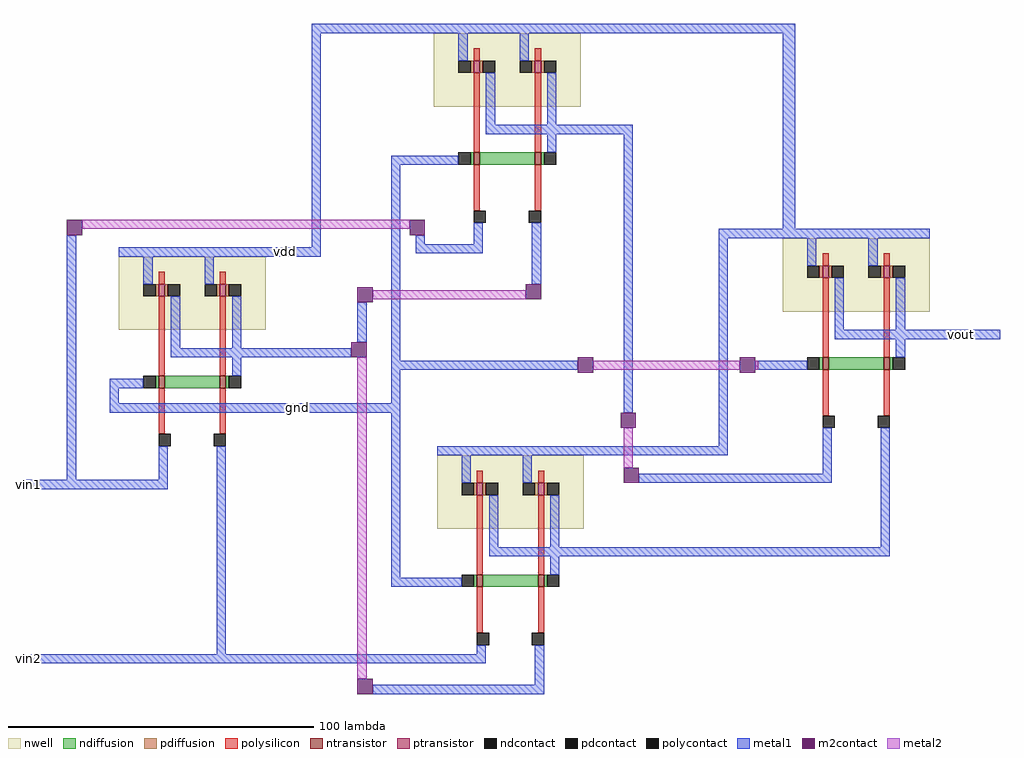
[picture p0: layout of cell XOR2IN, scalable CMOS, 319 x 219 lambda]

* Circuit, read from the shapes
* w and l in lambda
.subckt XOR2IN gnd vdd vin1 vin2 vout
M1 n1 vin1 gnd VSUBS nfet w=4 l=2
M2 NAND2IN_1/vin2 vin2 n1 VSUBS nfet w=4 l=2
M3 n2 vin1 gnd VSUBS nfet w=4 l=2
M4 n3 vin2 gnd VSUBS nfet w=4 l=2
M5 NAND2IN_3/vin1 NAND2IN_1/vin2 n2 VSUBS nfet w=4 l=2
M6 NAND2IN_3/vin2 NAND2IN_1/vin2 n3 VSUBS nfet w=4 l=2
M7 n4 NAND2IN_3/vin1 gnd VSUBS nfet w=4 l=2
M8 vout NAND2IN_3/vin2 n4 VSUBS nfet w=4 l=2
M9 NAND2IN_1/vin2 vin1 vdd n5 pfet w=4 l=2
M10 NAND2IN_1/vin2 vin2 vdd n5 pfet w=4 l=2
M11 NAND2IN_3/vin1 vin1 vdd n6 pfet w=4 l=2
M12 NAND2IN_3/vin2 vin2 vdd n7 pfet w=4 l=2
M13 NAND2IN_3/vin1 NAND2IN_1/vin2 vdd n6 pfet w=4 l=2
M14 NAND2IN_3/vin2 NAND2IN_1/vin2 vdd n7 pfet w=4 l=2
M15 vout NAND2IN_3/vin1 vdd n8 pfet w=4 l=2
M16 vout NAND2IN_3/vin2 vdd n8 pfet w=4 l=2
.ends

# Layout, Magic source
magic
tech scmos
<< metal1 >>
rect -12 98 32 101
rect 74 98 146 101
rect -92 -48 -89 32
rect -12 28 -9 98
rect 75 65 93 68
rect -34 25 -9 28
rect 14 55 33 58
rect 3 -3 6 10
rect -29 -8 1 -5
rect 14 -9 17 55
rect 22 29 25 32
rect 41 29 44 34
rect 22 26 44 29
rect 60 16 63 33
rect 14 -12 75 -9
rect -78 -18 -71 -15
rect -78 -23 -75 -18
rect 14 -23 17 -12
rect -78 -26 17 -23
rect 90 -26 93 65
rect 142 34 146 98
rect 121 31 146 34
rect -62 -48 -59 -40
rect -106 -51 -59 -48
rect -43 -105 -40 -40
rect 14 -80 17 -26
rect 121 -37 124 31
rect 190 -2 213 1
rect 133 -12 146 -9
rect 30 -40 32 -37
rect 76 -40 124 -37
rect 155 -46 158 -34
rect 95 -49 158 -46
rect 174 -70 177 -34
rect 76 -73 177 -70
rect 14 -83 34 -80
rect -106 -108 45 -105
rect 61 -115 64 -106
rect 8 -118 64 -115
<< m2contact >>
rect -92 32 -87 37
rect 3 10 8 15
rect 1 -8 6 -3
rect 20 32 25 37
rect 58 11 63 16
rect 75 -13 80 -8
rect 89 -31 94 -26
rect 128 -13 133 -8
rect 90 -49 95 -44
rect 3 -118 8 -113
<< metal2 >>
rect -87 34 20 37
rect 8 11 58 14
rect 3 -113 6 -8
rect 80 -12 128 -9
rect 133 -12 134 -9
rect 90 -44 93 -31
use NAND2IN  NAND2IN_3
transform 1 0 158 0 1 11
box -16 -46 32 23
use NAND2IN  NAND2IN_2
transform 1 0 45 0 1 -60
box -16 -46 32 23
use NAND2IN  NAND2IN_1
transform 1 0 44 0 1 78
box -16 -46 32 23
use NAND2IN  NAND2IN_0
transform 1 0 -59 0 1 5
box -16 -46 32 23
<< labels >>
rlabel metal1 -105 -50 -104 -49 3 vin1
rlabel metal1 -105 -107 -104 -106 3 vin2
rlabel metal1 200 -1 201 0 1 vout
rlabel metal1 -21 26 -20 27 1 vdd
rlabel metal1 -17 -25 -16 -24 1 gnd
<< end >>

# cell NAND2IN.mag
magic
tech scmos
<< nwell >>
rect -16 -4 32 20
<< ntransistor >>
rect -3 -23 -1 -19
rect 17 -23 19 -19
<< ptransistor >>
rect -3 7 -1 11
rect 17 7 19 11
<< ndiffusion >>
rect -4 -23 -3 -19
rect -1 -23 17 -19
rect 19 -23 20 -19
<< pdiffusion >>
rect -4 7 -3 11
rect -1 7 0 11
rect 16 7 17 11
rect 19 7 20 11
<< ndcontact >>
rect -8 -23 -4 -19
rect 20 -23 24 -19
<< pdcontact >>
rect -8 7 -4 11
rect 0 7 4 11
rect 12 7 16 11
rect 20 7 24 11
<< polysilicon >>
rect -3 11 -1 15
rect 17 11 19 15
rect -3 -19 -1 7
rect 17 -19 19 7
rect -3 -38 -1 -23
rect 17 -38 19 -23
<< polycontact >>
rect -3 -42 1 -38
rect 15 -42 19 -38
<< metal1 >>
rect -16 20 32 23
rect -8 11 -5 20
rect 12 11 15 20
rect 1 -10 4 7
rect 21 -10 24 7
rect 1 -13 32 -10
rect 21 -19 24 -13
rect -13 -23 -8 -20
rect -3 -46 0 -42
rect 16 -46 19 -42
<< labels >>
rlabel metal1 7 21 8 22 5 vdd
rlabel metal1 28 -12 29 -11 7 vout
rlabel metal1 -12 -22 -11 -21 3 gnd
rlabel metal1 -2 -44 -1 -43 1 vin1
rlabel metal1 17 -44 18 -43 1 vin2
<< end >>
